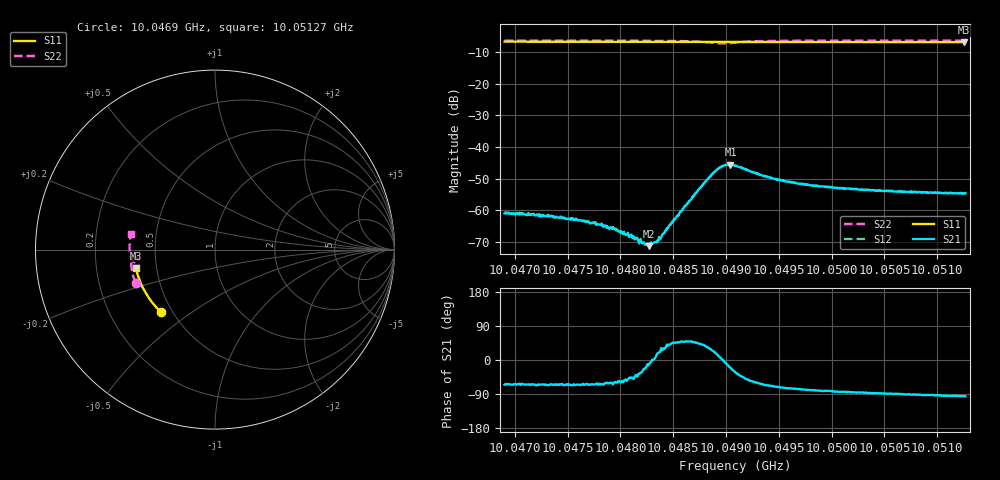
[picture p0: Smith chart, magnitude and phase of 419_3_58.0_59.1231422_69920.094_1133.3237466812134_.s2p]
#  HZ  S  RI  R  50.00
! Rohde & Schwarz Vector Network Analyzer
! Rohde-Schwarz,ZNB20-2Port,1311601062101988,3.16
! Created: UTC 3/21/2024, 1:09:05 AM
! freq[Hz]  re:S11  im:S11  re:S21  im:S21  re:S12  im:S12  re:S22  im:S22
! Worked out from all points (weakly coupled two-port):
!   401 points, 10.0469 GHz to 10.05127 GHz, reference 50 ohm
!   highest |S21| = -45.58 dB at 10.04904 GHz (marker M1); lowest = -71.3 dB at 10.04827 GHz (marker M2)
!   lowest |S11| = -6.9 dB at 10.05126 GHz (marker M3), VSWR 2.65, Z = 19.1 - j4.87 ohm
!   |S11| at or under -10 dB: nowhere
!   |S22| runs from -7.3 to -6.4 dB; largest |S21 - S12| = 0.00038
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1.0046903e10  -0.302 -0.3466  0.00038 -0.000812  0.000476 -0.000803  -0.4427 -0.1859
1.0047328e10  -0.3221 -0.3268  0.000332 -0.000734  0.000358 -0.000727  -0.4522 -0.1585
1.0047634e10  -0.3356 -0.312  0.000288 -0.000612  0.000332 -0.000613  -0.4579 -0.1381
1.0047808e10  -0.3431 -0.303  0.000249 -0.000532  0.000309 -0.000525  -0.4611 -0.1261
1.004795e10  -0.3489 -0.2958  0.000267 -0.000428  0.000307 -0.000398  -0.4632 -0.1162
1.0048059e10  -0.3534 -0.2902  0.000239 -0.000345  0.000275 -0.000312  -0.4644 -0.1082
1.0048114e10  -0.3556 -0.2874  0.000263 -0.00028  0.00026 -0.000249  -0.4649 -0.1041
1.004819e10  -0.3586 -0.2834  0.000274 -0.000184  0.000314 -0.000161  -0.4658 -0.0984
1.0048267e10  -0.3616 -0.2793  0.000263 -6.65e-05  0.000286 -3.06e-05  -0.4663 -0.0924
1.0048332e10  -0.3641 -0.2757  0.000324 3.92e-05  0.000311 8.01e-05  -0.4666 -0.0871
1.0048365e10  -0.3653 -0.274  0.000328 0.00012  0.000349 0.000144  -0.4666 -0.0843
1.0048583e10  -0.3735 -0.2622  0.000662 0.000758  0.00062 0.000775  -0.4646 -0.0647
1.0048867e10  -0.3832 -0.2462  0.00334 0.00159  0.00321 0.0018  -0.4399 -0.0416
1.0048965e10  -0.3862 -0.2408  0.00494 8.83e-05  0.00496 0.000397  -0.4267 -0.0526
1.0049041e10  -0.3886 -0.2367  0.00491 -0.00189  0.00504 -0.00156  -0.4306 -0.0664
1.0049085e10  -0.3902 -0.2344  0.00433 -0.00267  0.00451 -0.00238  -0.4374 -0.0703
1.0049456e10  -0.4019 -0.213  0.00109 -0.00292  0.00128 -0.00293  -0.4702 -0.0446
1.0049816e10  -0.412 -0.1914  0.000453 -0.00242  0.000603 -0.00239  -0.4755 -0.0149
1.0050089e10  -0.4189 -0.1748  0.000235 -0.00222  0.000392 -0.00217  -0.4762 0.00537
1.0050547e10  -0.4287 -0.1466  4.57e-05 -0.00201  0.000139 -0.00199  -0.475 0.0373
1.0051256e10  -0.4404 -0.1016  -0.000173 -0.00184  -7.39e-05 -0.00182  -0.4686 0.0848
1.0051267e10  -0.4406 -0.101  -0.000193 -0.00185  -6.66e-05 -0.00184  -0.4685 0.0855
